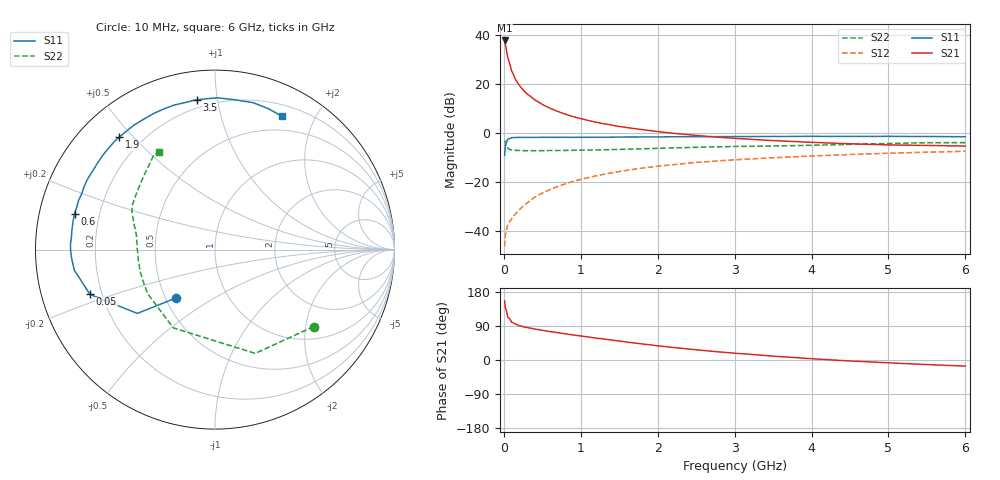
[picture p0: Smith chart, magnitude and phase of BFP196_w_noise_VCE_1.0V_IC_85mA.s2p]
! Infineon Technologies  Discrete & RF Semiconductors
! BFP196
! VCE =  1.0 V,  IC =  85 mA
! Common Emitter S-Parameters:  Jan 2017
# GHz  S  MA  R  50
!  f  S11  S21  S12  S22
! GHz  MAG  ANG  MAG  ANG  MAG  ANG  MAG  ANG
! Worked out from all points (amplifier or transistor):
!   77 points, 10 MHz to 6 GHz, reference 50 ohm
!   highest |S21| = 37.7 dB at 10 MHz (marker M1)
!   |S21| within 3 dB of that: start of sweep to 28.43 MHz
!   unconditionally stable (mu >= 1): 250 MHz to end of sweep
!   at 130 MHz: K = 0.83, MSG = 28.7 dB, |S12| = -34.0 dB
!   at 2.2 GHz: K = 1.03, MAG = 5.3 dB, |S12| = -13.0 dB
!   at 6 GHz: K = 1.02, MAG = 0.2 dB, |S12| = -7.6 dB
!   lowest NFmin = 1.85 dB at 450 MHz
!   S11 on the Smith chart (normalised r, x): 10 MHz: 0.57, -0.35; 50 MHz: 0.15, -0.17; 600 MHz: 0.11, +0.12; 1.9 GHz: 0.12, +0.46; 3.5 GHz: 0.15, +0.87; 6 GHz: 0.33, +1.57
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0.01  0.3445 -128.7  77.16 155.8  0.0048 68.2  0.6976 -37.9
0.02  0.5601 -140.6  63.67 138.0  0.0081 59.2  0.6203 -68.8
0.05  0.7398 -160.3  34.45 113.1  0.0128 46.7  0.4941 -118.1
0.1  0.7919 -171.6  18.46 100.1  0.0173 54.1  0.4487 -146.8
0.15  0.8008 -176.7  12.46 94.6  0.0218 58.6  0.437 -158.1
0.2  0.8044 -179.7  9.389 90.8  0.0266 62.5  0.4341 -164.4
0.25  0.8056 177.7  7.52 87.9  0.0316 65.2  0.4313 -168.3
0.3  0.8031 175.7  6.274 85.7  0.0364 66.4  0.4309 -171.5
0.4  0.8047 172.1  4.731 81.7  0.0478 68.5  0.4307 -175.3
0.5  0.8062 168.7  3.793 78.3  0.0584 69.1  0.431 -178.2
0.6  0.8078 165.6  3.178 75.0  0.0689 68.2  0.434 179.4
0.7  0.8058 163.1  2.733 72.2  0.0796 68.6  0.4338 177.4
0.8  0.8079 160.1  2.4 69.0  0.0905 67.5  0.4357 175.7
1.1  0.8115 151.8  1.782 60.7  0.1216 63.7  0.4431 171.2
1.5  0.8152 141.1  1.348 50.0  0.1614 57.8  0.4572 166.1
1.9  0.8229 130.5  1.107 40.1  0.1979 51.5  0.4754 161.9
2.1  0.8248 125.4  1.017 35.3  0.2148 48.2  0.4853 159.8
3.1  0.8359 104.2  0.753 16.5  0.2853 33.3  0.5265 149.8
3.5  0.8415 96.9  0.693 10.1  0.3084 28.2  0.5365 145.0
4.1  0.8442 87.6  0.629 2.2  0.3394 20.5  0.5588 137.2
5.1  0.8435 74.1  0.561 -8.3  0.3849 8.7  0.6077 126.1
6  0.8307 63.4  0.535 -16.1  0.4187 -1.3  0.6293 119.8
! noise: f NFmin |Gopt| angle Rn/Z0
0.45  1.85  0.51  -169  0.06
0.9  2.01  0.54  -157  0.1
1.9  2.88  0.7  -129  0.43
2.4  3.28  0.7  -116  0.89
